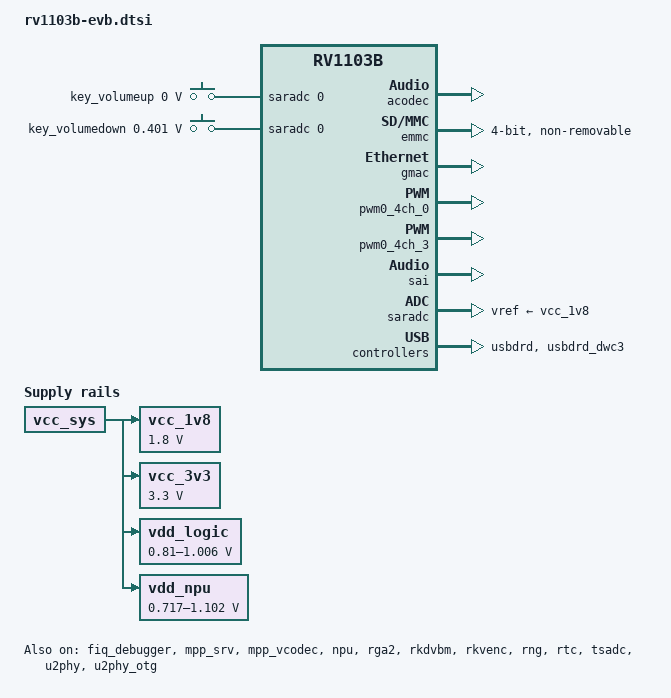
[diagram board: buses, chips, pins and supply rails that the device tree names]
// SPDX-License-Identifier: (GPL-2.0+ OR MIT)
/*
 * Copyright (c) 2026 Rockchip Electronics Co., Ltd.
 */
#include <dt-bindings/input/input.h>

/ {
	chosen {
		bootargs = "earlycon=uart8250,mmio32,0x20540000 console=ttyFIQ0 root=/dev/mmcblk0p5 rootfstype=ext4 rootwait snd_soc_core.prealloc_buffer_size_kbytes=16 coherent_pool=32K";
	};

	acodec_sound: acodec-sound {
		compatible = "simple-audio-card";
		simple-audio-card,name = "rv1103b-acodec";
		simple-audio-card,format = "i2s";
		simple-audio-card,mclk-fs = <256>;
		simple-audio-card,cpu {
			sound-dai = <&sai>;
		};
		simple-audio-card,codec {
			sound-dai = <&acodec>;
		};
	};

	adc-keys {
		compatible = "adc-keys";
		io-channels = <&saradc 0>;
		io-channel-names = "buttons";
		poll-interval = <100>;
		keyup-threshold-microvolt = <1800000>;

		key_volumeup-key {
			label = "key_volumeup";
			linux,code = <KEY_VOLUMEUP>;
			press-threshold-microvolt = <0>;
		};

		key_volumedown-key {
			label = "key_volumedown";
			linux,code = <KEY_VOLUMEDOWN>;
			press-threshold-microvolt = <400781>;
		};
	};

	restart-poweroff {
		compatible = "restart-poweroff";
	};

	vcc_sys: vcc-sys {
		compatible = "regulator-fixed";
		regulator-name = "vcc_sys";
		regulator-always-on;
		regulator-boot-on;
	};

	vcc_1v8: vcc-1v8 {
		compatible = "regulator-fixed";
		regulator-name = "vcc_1v8";
		regulator-always-on;
		regulator-boot-on;
		regulator-min-microvolt = <1800000>;
		regulator-max-microvolt = <1800000>;
		vin-supply = <&vcc_sys>;
	};

	vcc_3v3: vcc-3v3 {
		compatible = "regulator-fixed";
		regulator-name = "vcc_3v3";
		regulator-always-on;
		regulator-boot-on;
		regulator-min-microvolt = <3300000>;
		regulator-max-microvolt = <3300000>;
		vin-supply = <&vcc_sys>;
	};

	vdd_logic: vdd-logic {
		compatible = "pwm-regulator";
		pwms = <&pwm0_4ch_3 0 5000 1>;
		regulator-name = "vdd_logic";
		regulator-min-microvolt = <810000>;
		regulator-max-microvolt = <1006000>;
		regulator-init-microvolt = <900000>;
		regulator-always-on;
		regulator-boot-on;
		regulator-settling-time-up-us = <250>;
		pwm-supply = <&vcc_sys>;
	};

	vdd_npu: vdd_arm: vdd-arm {
		compatible = "pwm-regulator";
		pwms = <&pwm0_4ch_0 0 5000 1>;
		regulator-name = "vdd_arm";
		regulator-min-microvolt = <717000>;
		regulator-max-microvolt = <1102000>;
		regulator-init-microvolt = <950000>;
		regulator-always-on;
		regulator-boot-on;
		regulator-settling-time-up-us = <250>;
		pwm-supply = <&vcc_sys>;
	};
};

&acodec {
	status = "okay";
};

&cpu0 {
	cpu-supply = <&vdd_arm>;
};

&emmc {
	bus-width = <4>;
	cap-mmc-highspeed;
	non-removable;
	mmc-hs200-1_8v;
	rockchip,default-sample-phase = <90>;
	no-sdio;
	no-sd;
	status = "okay";
};

&fiq_debugger {
	rockchip,irq-mode-enable = <1>;
	status = "okay";
};

&gmac {
	status = "okay";
};

&mpp_srv {
	status = "okay";
};

&mpp_vcodec {
	status = "okay";
};

&npu {
	rknpu-supply = <&vdd_npu>;
	status = "okay";
};

&pwm0_4ch_0 {
	status = "okay";
};

&pwm0_4ch_3 {
	status = "okay";
};

&rga2 {
	status = "okay";
};

&rkdvbm {
	status = "okay";
};

&rkvenc {
	status = "okay";
};

&rmii_phy {
	bgs,increment = <0>;
};

&rng {
	status = "okay";
};

&rtc {
	status = "okay";
};

&sai {
	status = "okay";
};

&saradc{
	status = "okay";
	vref-supply = <&vcc_1v8>;
};

&tsadc {
	status = "okay";
};

&u2phy {
	status = "okay";
};

&u2phy_otg {
	rockchip,vbus-always-on;
	status = "okay";
};

&usbdrd {
	status = "okay";
};

&usbdrd_dwc3 {
	extcon = <&u2phy>;
	status = "okay";
};
